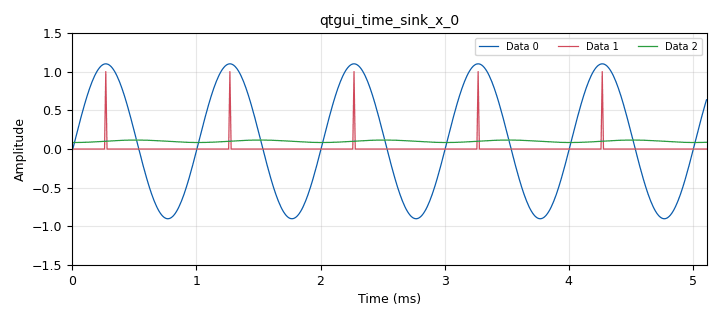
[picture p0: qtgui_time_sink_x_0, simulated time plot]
<?xml version='1.0' encoding='utf-8'?>
<?grc format='1' created='3.7.7'?>
<flow_graph>
<block>
<key>options</key>
<param><key>id</key><value>test_peak2</value></param>
<param><key>generate_options</key><value>qt_gui</value></param>
<param><key>category</key><value>Custom</value></param>
<param><key>run_options</key><value>run</value></param>
</block>
<block>
<key>variable</key>
<param><key>id</key><value>alpha</value></param>
<param><key>value</key><value>0.001</value></param>
</block>
<block>
<key>variable</key>
<param><key>id</key><value>lookahead</value></param>
<param><key>value</key><value>int(samp_rate/1e3/1.1)</value></param>
</block>
<block>
<key>variable</key>
<param><key>id</key><value>factor</value></param>
<param><key>value</key><value>0.3</value></param>
</block>
<block>
<key>variable</key>
<param><key>id</key><value>samp_rate</value></param>
<param><key>value</key><value>100e3</value></param>
</block>
<block>
<key>analog_sig_source_x</key>
<param><key>id</key><value>analog_sig_source_x_0</value></param>
<param><key>type</key><value>float</value></param>
<param><key>samp_rate</key><value>samp_rate</value></param>
<param><key>waveform</key><value>analog.GR_COS_WAVE</value></param>
<param><key>freq</key><value>1000</value></param>
<param><key>amp</key><value>1</value></param>
<param><key>offset</key><value>0</value></param>
</block>
<block>
<key>blocks_add_const_vxx</key>
<param><key>id</key><value>blocks_add_const_vxx_0</value></param>
<param><key>type</key><value>float</value></param>
<param><key>const</key><value>0.1</value></param>
</block>
<block>
<key>blocks_throttle</key>
<param><key>id</key><value>blocks_throttle_0</value></param>
<param><key>type</key><value>float</value></param>
<param><key>samples_per_second</key><value>samp_rate</value></param>
</block>
<block>
<key>blocks_peak_detector2_fb</key>
<param><key>id</key><value>blocks_peak_detector2_fb_0</value></param>
<param><key>threshold_factor_rise</key><value>factor</value></param>
<param><key>look_ahead</key><value>lookahead</value></param>
<param><key>alpha</key><value>alpha</value></param>
</block>
<block>
<key>blocks_char_to_float</key>
<param><key>id</key><value>blocks_char_to_float_0</value></param>
<param><key>scale</key><value>1</value></param>
</block>
<block>
<key>blocks_file_sink</key>
<param><key>id</key><value>blocks_file_sink_0_0</value></param>
<param><key>_enabled</key><value>False</value></param>
<param><key>file</key><value>avg.data</value></param>
<param><key>type</key><value>float</value></param>
</block>
<block>
<key>blocks_file_sink</key>
<param><key>id</key><value>blocks_file_sink_0_1</value></param>
<param><key>_enabled</key><value>False</value></param>
<param><key>file</key><value>flag.data</value></param>
<param><key>type</key><value>float</value></param>
</block>
<block>
<key>blocks_file_sink</key>
<param><key>id</key><value>blocks_file_sink_0</value></param>
<param><key>_enabled</key><value>False</value></param>
<param><key>file</key><value>in.data</value></param>
<param><key>type</key><value>float</value></param>
</block>
<block>
<key>qtgui_time_sink_x</key>
<param><key>id</key><value>qtgui_time_sink_x_0</value></param>
<param><key>type</key><value>float</value></param>
<param><key>size</key><value>512</value></param>
<param><key>srate</key><value>samp_rate</value></param>
<param><key>grid</key><value>True</value></param>
<param><key>ymin</key><value>-1.5</value></param>
<param><key>ymax</key><value>1.5</value></param>
<param><key>nconnections</key><value>3</value></param>
<param><key>tr_mode</key><value>qtgui.TRIG_MODE_AUTO</value></param>
<param><key>ctrlpanel</key><value>True</value></param>
<param><key>label1</key><value></value></param>
<param><key>color1</key><value>"blue"</value></param>
<param><key>label2</key><value></value></param>
<param><key>color2</key><value>"red"</value></param>
<param><key>label3</key><value></value></param>
<param><key>color3</key><value>"green"</value></param>
</block>
<connection><source_block_id>blocks_peak_detector2_fb_0</source_block_id><sink_block_id>blocks_char_to_float_0</sink_block_id><source_key>0</source_key><sink_key>0</sink_key></connection>
<connection><source_block_id>analog_sig_source_x_0</source_block_id><sink_block_id>blocks_add_const_vxx_0</sink_block_id><source_key>0</source_key><sink_key>0</sink_key></connection>
<connection><source_block_id>blocks_add_const_vxx_0</source_block_id><sink_block_id>blocks_throttle_0</sink_block_id><source_key>0</source_key><sink_key>0</sink_key></connection>
<connection><source_block_id>blocks_throttle_0</source_block_id><sink_block_id>blocks_peak_detector2_fb_0</sink_block_id><source_key>0</source_key><sink_key>0</sink_key></connection>
<connection><source_block_id>blocks_peak_detector2_fb_0</source_block_id><sink_block_id>qtgui_time_sink_x_0</sink_block_id><source_key>1</source_key><sink_key>2</sink_key></connection>
<connection><source_block_id>blocks_char_to_float_0</source_block_id><sink_block_id>qtgui_time_sink_x_0</sink_block_id><source_key>0</source_key><sink_key>1</sink_key></connection>
<connection><source_block_id>blocks_throttle_0</source_block_id><sink_block_id>qtgui_time_sink_x_0</sink_block_id><source_key>0</source_key><sink_key>0</sink_key></connection>
<connection><source_block_id>blocks_peak_detector2_fb_0</source_block_id><sink_block_id>blocks_file_sink_0_0</sink_block_id><source_key>1</source_key><sink_key>0</sink_key></connection>
<connection><source_block_id>blocks_char_to_float_0</source_block_id><sink_block_id>blocks_file_sink_0_1</sink_block_id><source_key>0</source_key><sink_key>0</sink_key></connection>
<connection><source_block_id>blocks_add_const_vxx_0</source_block_id><sink_block_id>blocks_file_sink_0</sink_block_id><source_key>0</source_key><sink_key>0</sink_key></connection>
</flow_graph>
